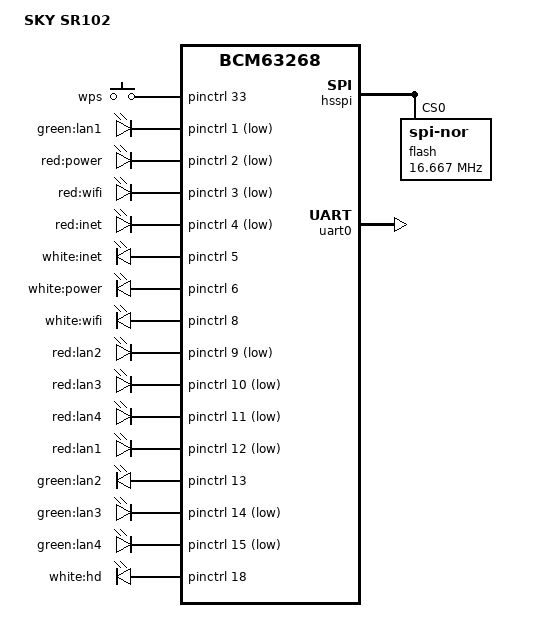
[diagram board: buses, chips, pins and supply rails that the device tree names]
#include "bcm63268.dtsi"

#include <dt-bindings/input/input.h>

/ {
	model = "SKY SR102";
	compatible = "sky,sr102", "brcm,bcm63168", "brcm,bcm63268";

	aliases {
		led-boot = &led_power_white;
		led-failsafe = &led_power_white;
		led-running = &led_power_white;
		led-upgrade = &led_power_white;
	};

	chosen {
		bootargs = "rootfstype=squashfs,jffs2 noinitrd console=ttyS0,115200";
		stdout-path = "serial0:115200n8";
	};

	keys {
		compatible = "gpio-keys-polled";
		#address-cells = <1>;
		#size-cells = <0>;
		poll-interval = <20>;

		wps {
			label = "wps";
			gpios = <&pinctrl 33 0>;
			linux,code = <KEY_WPS_BUTTON>;
			debounce-interval = <60>;
		};
	};

	leds {
		compatible = "gpio-leds";

		lan1_green {
			label = "green:lan1";
			gpios = <&pinctrl 1 1>;
		};
		power_red {
			label = "red:power";
			gpios = <&pinctrl 2 1>;
		};
		wifi_red {
			label = "red:wifi";
			gpios = <&pinctrl 3 1>;
		};
		inet_red {
			label = "red:inet";
			gpios = <&pinctrl 4 1>;
		};
		inet_white {
			label = "white:inet";
			gpios = <&pinctrl 5 0>;
		};
		led_power_white: power_white {
			label = "white:power";
			gpios = <&pinctrl 6 0>;
			default-state = "on";
		};
		wifi_white {
			label = "white:wifi";
			gpios = <&pinctrl 8 0>;
		};
		lan2_red {
			label = "red:lan2";
			gpios = <&pinctrl 9 1>;
		};
		lan3_red {
			label = "red:lan3";
			gpios = <&pinctrl 10 1>;
		};
		lan4_red {
			label = "red:lan4";
			gpios = <&pinctrl 11 1>;
		};
		lan1_red {
			label = "red:lan1";
			gpios = <&pinctrl 12 1>;
		};
		lan2_green {
			label = "green:lan2";
			gpios = <&pinctrl 13 0>;
		};
		lan3_green {
			label = "green:lan3";
			gpios = <&pinctrl 14 1>;
		};
		lan4_green {
			label = "green:lan4";
			gpios = <&pinctrl 15 1>;
		};
		hd_white {
			label = "white:hd";
			gpios = <&pinctrl 18 0>;
		};
	};
};

&hsspi {
	status = "okay";

	flash@0 {
		compatible = "jedec,spi-nor";
		spi-max-frequency = <16666667>;
		spi-tx-bus-width = <2>;
		spi-rx-bus-width = <2>;
		reg = <0>;

		#address-cells = <1>;
		#size-cells = <1>;

		partitions {
			compatible = "brcm,bcm963xx-cfe-nor-partitions";
		};
	};
};

&uart0 {
	status = "okay";
};
